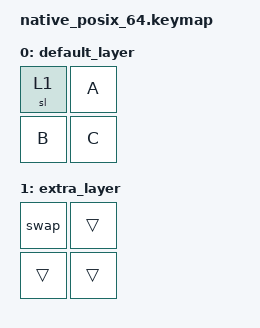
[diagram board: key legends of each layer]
#include <dt-bindings/zmk/keys.h>
#include <behaviors.dtsi>
#include <dt-bindings/zmk/kscan_mock.h>

/* A layer can be deactivated with no accompanying key event (a sticky layer
 * quick-releasing here; an auto-layer/num-word dropping on the tri-state's
 * own keycode in the wild). With the layer listed in
 * end-on-layer-deactivation, the tri-state ends as soon as the key is
 * released instead of holding its start behavior until timeout. */

/ {
    behaviors {
        swap: swap {
            compatible = "zmk,behavior-tri-state";
            #binding-cells = <0>;
            bindings = <&kt LALT>, <&kp TAB>, <&kt LALT>;
            ignored-key-positions = <3>;
            timeout-ms = <200>;
            end-on-layer-deactivation = <1>;
        };
    };

    keymap {
        compatible = "zmk,keymap";
        label = "Default keymap";

        default_layer {
            bindings = <
                &sl 1    &kp A
                &kp B    &kp C>;
        };

        extra_layer {
            bindings = <
                &swap    &trans
                &trans   &trans>;
        };
    };
};

&kscan {
    events = <
    /* arm the sticky layer */
    ZMK_MOCK_PRESS(0,0,10)
    ZMK_MOCK_RELEASE(0,0,10)
    /* same position now hits &swap on layer 1; the sticky layer quick-releases
     * on this press, deactivating the layer with no key event */
    ZMK_MOCK_PRESS(0,0,10)
    ZMK_MOCK_RELEASE(0,0,100)
    /* the trailing key is in ignored-key-positions and comes out clean
     * because LALT was already released at the swap key release; the long
     * tail covers the timeout window to catch regressions */
    ZMK_MOCK_PRESS(1,1,10)
    ZMK_MOCK_RELEASE(1,1,1000)
    >;
};
